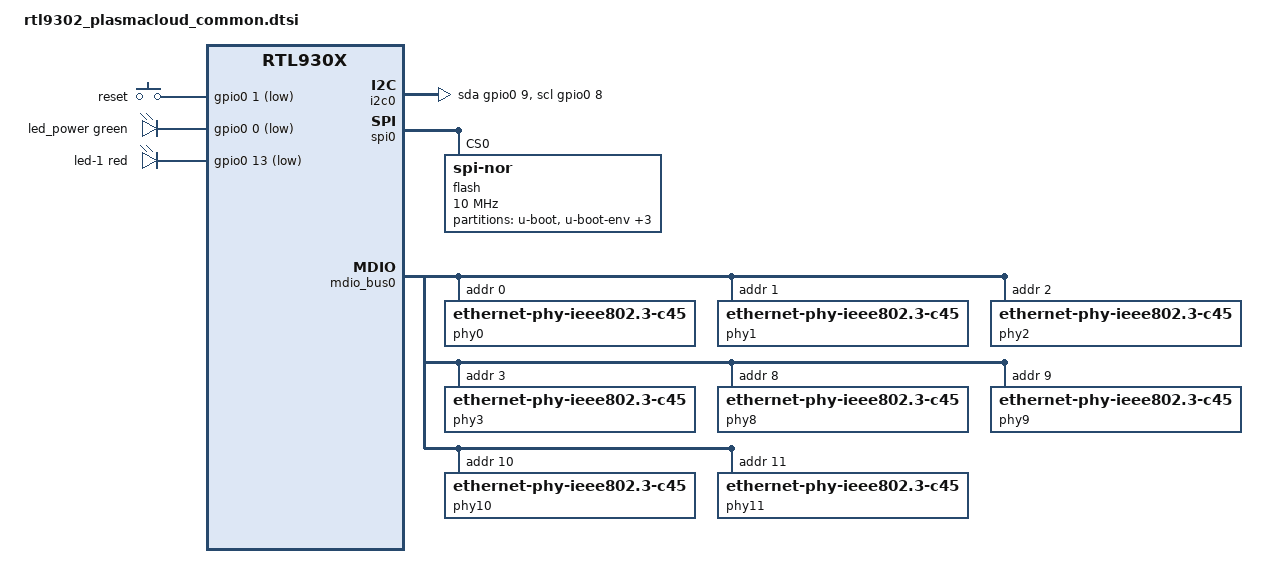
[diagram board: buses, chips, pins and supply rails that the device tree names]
// SPDX-License-Identifier: GPL-2.0-or-later

#include "rtl930x.dtsi"

#include <dt-bindings/input/input.h>
#include <dt-bindings/gpio/gpio.h>
#include <dt-bindings/leds/common.h>

/ {
	chosen {
		/* get active mtdparts from u-boot */
		/delete-property/ bootargs;
	};

	aliases {
		led-boot = &led_power;
		led-running = &led_power;
		led-failsafe = &led_power;
		led-upgrade = &led_power;
		label-mac-device = &ethernet0;
	};

	keys {
		compatible = "gpio-keys";

		mode {
			label = "reset";
			gpios = <&gpio0 1 GPIO_ACTIVE_LOW>;
			linux,code = <KEY_RESTART>;
		};
	};

	i2c0: i2c-gpio0 {
		compatible = "i2c-gpio";
		#address-cells = <1>;
		#size-cells = <0>;

		sda-gpios = <&gpio0 9 GPIO_ACTIVE_HIGH>;
		scl-gpios = <&gpio0 8 GPIO_ACTIVE_HIGH>;

		i2c-gpio,delay-us = <5>;	/* ~100 kHz */
	};

	leds {
		compatible = "gpio-leds";

		pinctrl-names = "default";
		pinctrl-0 = <&pinmux_disable_sys_led>;

		led_power: led-0 {
			color = <LED_COLOR_ID_GREEN>;
			function = LED_FUNCTION_POWER;
			gpios = <&gpio0 0 GPIO_ACTIVE_LOW>;
			default-state = "on";
		};

		led-1 {
			color = <LED_COLOR_ID_RED>;
			function = LED_FUNCTION_STATUS;
			gpios = <&gpio0 13 GPIO_ACTIVE_LOW>;
			default-state = "on";
			linux,default-trigger = "heartbeat";
		};
	};

	led_set: led_set@0 {
		compatible = "realtek,rtl9300-leds";
		active-low;

		led_set0 = <(RTL93XX_LED_SET_10G | RTL93XX_LED_SET_5G |
			     RTL93XX_LED_SET_2P5G | RTL93XX_LED_SET_1G |
			     RTL93XX_LED_SET_100M | RTL93XX_LED_SET_10M |
			     RTL93XX_LED_SET_LINK | RTL93XX_LED_SET_ACT)>;
	};
};

&spi0 {
	status = "okay";

	flash@0 {
		compatible = "jedec,spi-nor";
		reg = <0>;
		spi-max-frequency = <10000000>;

		partitions {
			compatible = "fixed-partitions";
			#address-cells = <1>;
			#size-cells = <1>;

			partition@0 {
				label = "u-boot";
				reg = <0x0 0xe0000>;
				read-only;
			};

			partition@e0000 {
				label = "u-boot-env";
				reg = <0xe0000 0x10000>;

				nvmem-layout {
					compatible = "u-boot,env";

					macaddr_ubootenv_ethaddr: ethaddr {
						#nvmem-cell-cells = <1>;
					};
				};
			};

			partition@f0000 {
				label = "u-boot-env2";
				reg = <0xf0000 0x10000>;
			};

			partition@100000 {
				label = "firmware1";
				reg = <0x100000 0xf80000>;
				compatible = "openwrt,uimage", "denx,uimage";
				openwrt,ih-magic = <0x93000000>;
			};

			partition@1080000 {
				label = "firmware2";
				reg = <0x1080000 0xf80000>;
				compatible = "openwrt,uimage", "denx,uimage";
				openwrt,ih-magic = <0x93000000>;
			};
		};
	};
};

&ethernet0 {
	nvmem-cells = <&macaddr_ubootenv_ethaddr 0>;
	nvmem-cell-names = "mac-address";
};

&mdio_bus0 {
	/* External RTL8224 PHY */
	phy0: ethernet-phy@0 {
		reg = <0>;
		compatible = "ethernet-phy-ieee802.3-c45";
	};

	phy1: ethernet-phy@1 {
		reg = <1>;
		compatible = "ethernet-phy-ieee802.3-c45";
	};

	phy2: ethernet-phy@2 {
		reg = <2>;
		compatible = "ethernet-phy-ieee802.3-c45";
	};

	phy3: ethernet-phy@3 {
		reg = <3>;
		compatible = "ethernet-phy-ieee802.3-c45";
	};

	phy8: ethernet-phy@8 {
		reg = <8>;
		compatible = "ethernet-phy-ieee802.3-c45";
		realtek,smi-address = <4>;
	};

	phy9: ethernet-phy@9 {
		reg = <9>;
		compatible = "ethernet-phy-ieee802.3-c45";
		realtek,smi-address = <5>;
	};

	phy10: ethernet-phy@10 {
		reg = <10>;
		compatible = "ethernet-phy-ieee802.3-c45";
		realtek,smi-address = <6>;
	};

	phy11: ethernet-phy@11 {
		reg = <11>;
		compatible = "ethernet-phy-ieee802.3-c45";
		realtek,smi-address = <7>;
	};
};

&switch0 {
	ports {
		#address-cells = <1>;
		#size-cells = <0>;

		SWITCH_PORT_SDS(0, 1, 2, 10g-qxgmii)
		SWITCH_PORT_SDS(1, 2, 2, 10g-qxgmii)
		SWITCH_PORT_SDS(2, 3, 2, 10g-qxgmii)
		SWITCH_PORT_SDS(3, 4, 2, 10g-qxgmii)
		SWITCH_PORT_SDS(8, 5, 3, 10g-qxgmii)
		SWITCH_PORT_SDS(9, 6, 3, 10g-qxgmii)
		SWITCH_PORT_SDS(10, 7, 3, 10g-qxgmii)
		SWITCH_PORT_SDS(11, 8, 3, 10g-qxgmii)

		/* CPU-port */
		port@28 {
			ethernet = <&ethernet0>;
			reg = <28>;
			phy-mode = "internal";
			fixed-link {
				speed = <1000>;
				full-duplex;
			};
		};
	};
};

&port0 {
	nvmem-cells = <&macaddr_ubootenv_ethaddr 1>;
	nvmem-cell-names = "mac-address";
};

&port1 {
	nvmem-cells = <&macaddr_ubootenv_ethaddr 2>;
	nvmem-cell-names = "mac-address";
};

&port2 {
	nvmem-cells = <&macaddr_ubootenv_ethaddr 3>;
	nvmem-cell-names = "mac-address";
};

&port3 {
	nvmem-cells = <&macaddr_ubootenv_ethaddr 4>;
	nvmem-cell-names = "mac-address";
};

&port8 {
	nvmem-cells = <&macaddr_ubootenv_ethaddr 5>;
	nvmem-cell-names = "mac-address";
};

&port9 {
	nvmem-cells = <&macaddr_ubootenv_ethaddr 6>;
	nvmem-cell-names = "mac-address";
};

&port10 {
	nvmem-cells = <&macaddr_ubootenv_ethaddr 7>;
	nvmem-cell-names = "mac-address";
};

&port11 {
	nvmem-cells = <&macaddr_ubootenv_ethaddr 8>;
	nvmem-cell-names = "mac-address";
};
